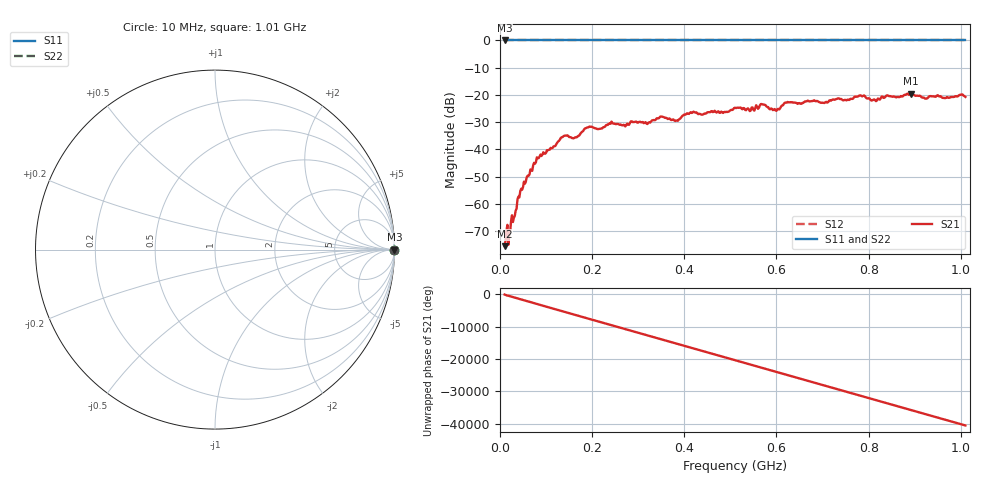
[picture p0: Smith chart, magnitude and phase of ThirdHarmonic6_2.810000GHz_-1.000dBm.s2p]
! 8/17/2025 7:22:36 AM
! C:\ANRITSUVNA\TEMP\TEMP.S2P
! CHANNEL.1
! TR.MEASUREMENT
! RAW.DATA
! RF.CORRECTION.OFF
! AVERAGING.OFF
! IF.BANDWIDTH: 5KHZ
! SWEEPTYPE:  FREQ.SWEEP(Linear)
! Reference Plane Port Info
! PORT:  PORT1  PORT2
! DISTANCE:  0  m  0  m
! TIME:  0  s  0  s
! PHASE.OFFSET:  0  deg.  0  deg.
! LOSS:  0  dB  0  dB
! REF.LOSS:  0  dB  0  dB
! REF.FREQ:  0  Hz  0  Hz
! Power Info
! POWER:  -20  dBm  -20  dBm
! EFF.POWER:  -20  dBm  -20  dBm
! SOURCE.ATTEN:  0  dB  0  dB
! TEST.ATTEN:  0  dB  0  dB
# GHZ S RI R 50.0
! FREQ.GHZ  S11RE  S11IM  S21RE  S21IM  S12RE  S12IM  S22RE  S22IM
!; PortSelection: Port_12
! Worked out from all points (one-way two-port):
!   501 points, 10 MHz to 1.01 GHz, reference 50 ohm
!   highest |S21| = -19.51 dB at 892 MHz (marker M1); lowest = -75.5 dB at 10 MHz (marker M2)
!   lowest |S11| = 0.0 dB at 10 MHz (marker M3)
!   |S11| at or under -10 dB: nowhere
!   |S22| runs from 0.0 to 0.0 dB; largest |S21 - S12| = 1.1
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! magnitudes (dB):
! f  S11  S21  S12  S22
! 10 MHz  0.0  -75.5  0.0  0.0
! 32 MHz  0.0  -64.5  0.0  0.0
! 42 MHz  0.0  -57.6  0.0  0.0
! 78 MHz  0.0  -44.7  0.0  0.0
! 136 MHz  0.0  -35.4  0.0  0.0
! 162 MHz  0.0  -35.7  0.0  0.0
! 178 MHz  0.0  -33.5  0.0  0.0
! 194 MHz  0.0  -31.6  0.0  0.0
! 322 MHz  0.0  -30.2  0.0  0.0
! 344 MHz  0.0  -28.6  0.0  0.0
! 382 MHz  0.0  -29.4  0.0  0.0
! 416 MHz  0.0  -26.6  0.0  0.0
! 510 MHz  0.0  -24.7  0.0  0.0
! 548 MHz  0.0  -24.6  0.0  0.0
! 570 MHz  0.0  -23.5  0.0  0.0
! 596 MHz  0.0  -25.2  0.0  0.0
! 622 MHz  0.0  -22.8  0.0  0.0
! 678 MHz  0.0  -22.3  0.0  0.0
! 844 MHz  0.0  -20.4  0.0  0.0
! 892 MHz  0.0  -19.5  0.0  0.0
! 924 MHz  0.0  -21.3  0.0  0.0
! 1.01 GHz  0.0  -20.7  0.0  0.0
